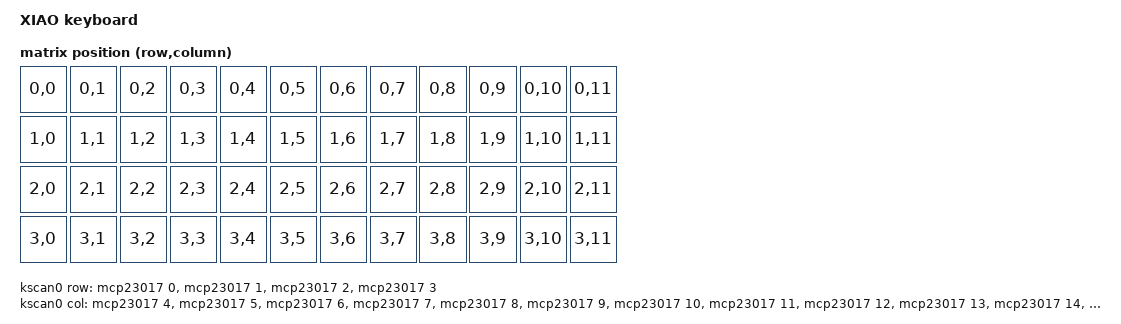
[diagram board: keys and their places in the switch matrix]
/dts-v1/;

#include <nordic/nrf52840_qiaa.dtsi>
#include <dt-bindings/zmk/matrix_transform.h>

/{
    model = "XIAO keyboard";
    compatible = "seeed,xiao-kb";
    
    chosen {
        zephyr,sram = &sram0;
        zephyr,flash = &flash0;
        zephyr,code-partition = &image_0_partition;
        zmk,kscan = &kscan0;
        zmk,matrix-transform = &default_transform;
        zmk,battery = &fuel_gauge;
    };

    /*transform matix*/

    default_transform: keymap_transform_0 {
        compatible = "zmk,matrix-transform";
        columns = <12>;
        rows = <4>;
        map = <
        RC(0,0) RC(0,1) RC(0,2) RC(0,3) RC(0,4) RC(0,5) RC(0,6) RC(0,7) RC(0,8) RC(0,9) RC(0,10) RC(0,11)

        RC(1,0) RC(1,1) RC(1,2) RC(1,3) RC(1,4) RC(1,5) RC(1,6) RC(1,7) RC(1,8) RC(1,9) RC(1,10) RC(1,11)

        RC(2,0) RC(2,1) RC(2,2) RC(2,3) RC(2,4) RC(2,5) RC(2,6) RC(2,7) RC(2,8) RC(2,9) RC(2,10) RC(2,11)

        RC(3,0) RC(3,1) RC(3,2) RC(3,3) RC(3,4) RC(3,5) RC(3,6) RC(3,7) RC(3,8) RC(3,9) RC(3,10) RC(3,11)
        >;
    };

    /*matrix scan*/

    kscan0: kscan {
        compatible = "zmk,kscan-gpio-matrix";
        wakeup-source;
        diode-direction = "row2col";

        row-gpios = <&mcp23017 0 GPIO_ACTIVE_HIGH>, <&mcp23017 1 GPIO_ACTIVE_HIGH>, <&mcp23017 2 GPIO_ACTIVE_HIGH>, <&mcp23017 3 GPIO_ACTIVE_HIGH>;

        col-gpios = <&mcp23017 4 (GPIO_ACTIVE_LOW | GPIO_PULL_UP)>, <&mcp23017 5 (GPIO_ACTIVE_LOW | GPIO_PULL_UP)>, <&mcp23017 6 (GPIO_ACTIVE_LOW | GPIO_PULL_UP)>,
        <&mcp23017 7 (GPIO_ACTIVE_LOW | GPIO_PULL_UP)>, <&mcp23017 8 (GPIO_ACTIVE_LOW | GPIO_PULL_UP)>, <&mcp23017 9 (GPIO_ACTIVE_LOW | GPIO_PULL_UP)>,
        <&mcp23017 10 (GPIO_ACTIVE_LOW | GPIO_PULL_UP)>, <&mcp23017 11 (GPIO_ACTIVE_LOW | GPIO_PULL_UP)>, <&mcp23017 12 (GPIO_ACTIVE_LOW | GPIO_PULL_UP)>,
        <&mcp23017 13 (GPIO_ACTIVE_LOW | GPIO_PULL_UP)>, <&mcp23017 14 (GPIO_ACTIVE_LOW | GPIO_PULL_UP)>, <&mcp23017 15 (GPIO_ACTIVE_LOW | GPIO_PULL_UP)>;
    };

    /*battery*/

    fuel_gauge: fuel_gauge {
        compatible = "zmk,battery-nrf-vddhdiv5";
    };
};

/*I2C*/

&pinctrl {
    i2c0_default: i2c0_default {
        group1 {
            psels = <NRF_PSEL(TWIM_SDA, 0, 4)>,
                    <NRF_PSEL(TWIM_SCL, 0, 5)>;
        };
    };

    i2c0_sleep: i2c0_sleep {
        group1 {
            psels = <NRF_PSEL(TWIM_SDA, 0, 4)>,
                    <NRF_PSEL(TWIM_SCL, 0, 5)>;
            low-power-enable;
        };
    };
};

&i2c0 {
    compatible = "nordic,nrf-twi";
    status = "okay";
    pinctrl-0 = <&i2c0_default>;
    pinctrl-1 = <&i2c0_sleep>;
    pinctrl-names = "default", "sleep";
    clock-frequency = <I2C_BITRATE_FAST>;


    mcp23017: mcp23017@20 {
        compatible = "microchip,mcp23017";
        reg = <0x20>;
        gpio-controller;
        #gpio-cells = <2>;
        ngpios = <16>;
    };


    tps65201a: tps65201a@15 {
        compatible = "ti,tps65201a";
        reg = <0x15>;
        rdy-gpios = <&gpio0 2 GPIO_ACTIVE_HIGH>;
        reset-gpios = <&gpio0 3 GPIO_ACTIVE_LOW>;
    };
};

/* Flash memory parts */

&flash0 {
    partitions {
        compatible = "fixed-partitions";
        #address-cells = <1>;
        #size-cells = <1>;

        mcuboot_partition:  partition@0 {
            reg = <0x00000000 0x0000c000>;
        };

        sd_partition: partition@c000 {
            reg = <0x0000c000 0x0001a000>;
        };

        image_0_partition: partition@26000 {
            reg = <0x00026000 0x000c6000>;
        };

        storage_partition: partition@ec000 {
            reg =  <0x000ec000 0x0008000>;
        };
    };
};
